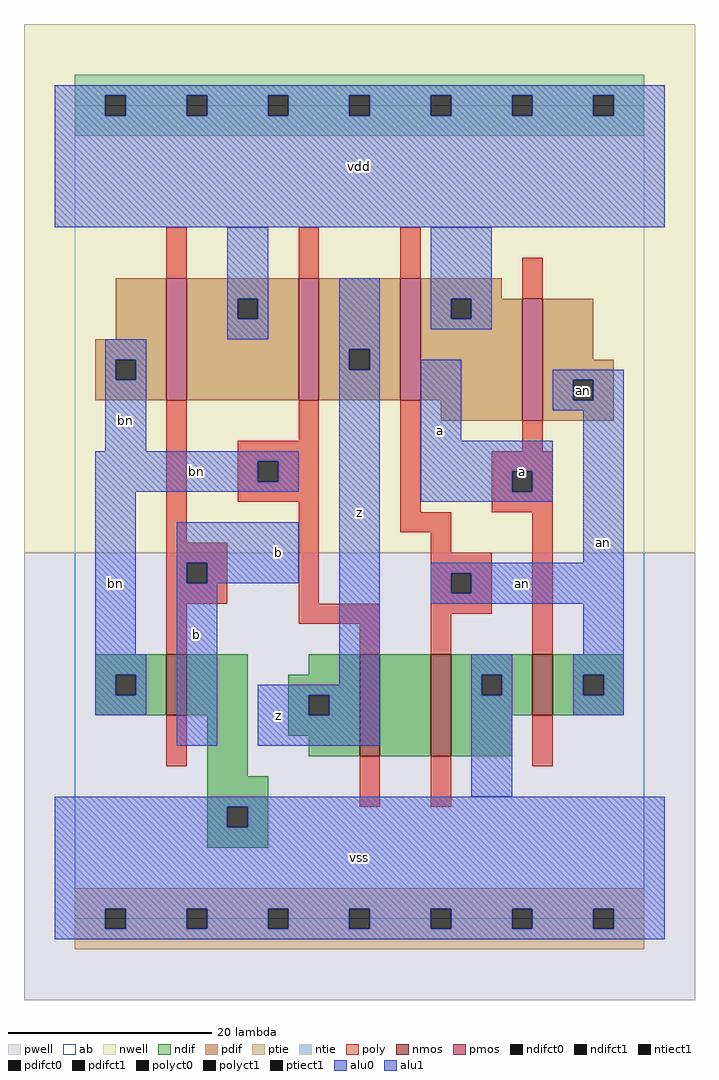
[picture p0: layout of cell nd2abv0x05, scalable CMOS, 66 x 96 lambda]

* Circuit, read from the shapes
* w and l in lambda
.subckt nd2abv0x05 a an b bn vdd vss z
M1 vss b bn vss nfet w=6 l=2
M2 n1 bn z vss nfet w=10 l=2
M3 vss an n1 vss nfet w=10 l=2
M4 an a vss vss nfet w=6 l=2
M5 vdd b bn vdd pfet w=12 l=2
M6 z bn vdd vdd pfet w=12 l=2
M7 vdd an z vdd pfet w=12 l=2
M8 an a vdd vdd pfet w=12 l=2
.ends

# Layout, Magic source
magic
tech scmos
<< ab >>
rect 0 0 56 80
<< nwell >>
rect -5 36 61 88
<< pwell >>
rect -5 -8 61 36
<< poly >>
rect 9 63 11 68
rect 22 63 24 68
rect 32 63 34 68
rect 44 61 46 65
rect 9 37 11 51
rect 22 47 24 51
rect 16 45 24 47
rect 16 43 18 45
rect 20 43 24 45
rect 16 41 24 43
rect 9 35 15 37
rect 9 33 11 35
rect 13 33 15 35
rect 9 31 15 33
rect 22 31 24 41
rect 32 40 34 51
rect 44 46 46 49
rect 41 44 47 46
rect 41 42 43 44
rect 45 42 47 44
rect 41 40 47 42
rect 32 38 37 40
rect 35 36 37 38
rect 35 34 41 36
rect 35 32 37 34
rect 39 32 41 34
rect 9 26 11 31
rect 22 29 30 31
rect 28 26 30 29
rect 35 30 41 32
rect 35 26 37 30
rect 45 26 47 40
rect 9 15 11 20
rect 28 11 30 16
rect 35 11 37 16
rect 45 15 47 20
<< ndif >>
rect 2 24 9 26
rect 2 22 4 24
rect 6 22 9 24
rect 2 20 9 22
rect 11 20 17 26
rect 23 24 28 26
rect 13 14 17 20
rect 21 22 28 24
rect 21 20 23 22
rect 25 20 28 22
rect 21 18 28 20
rect 23 16 28 18
rect 30 16 35 26
rect 37 24 45 26
rect 37 22 40 24
rect 42 22 45 24
rect 37 20 45 22
rect 47 24 54 26
rect 47 22 50 24
rect 52 22 54 24
rect 47 20 54 22
rect 37 16 43 20
rect 13 11 19 14
rect 13 9 15 11
rect 17 9 19 11
rect 13 7 19 9
<< pdif >>
rect 4 57 9 63
rect 2 55 9 57
rect 2 53 4 55
rect 6 53 9 55
rect 2 51 9 53
rect 11 61 22 63
rect 11 59 16 61
rect 18 59 22 61
rect 11 51 22 59
rect 24 56 32 63
rect 24 54 27 56
rect 29 54 32 56
rect 24 51 32 54
rect 34 61 42 63
rect 34 59 37 61
rect 39 59 44 61
rect 34 51 44 59
rect 36 49 44 51
rect 46 55 51 61
rect 46 53 53 55
rect 46 51 49 53
rect 51 51 53 53
rect 46 49 53 51
<< alu1 >>
rect -2 81 58 82
rect -2 79 3 81
rect 5 79 11 81
rect 13 79 19 81
rect 21 79 27 81
rect 29 79 35 81
rect 37 79 43 81
rect 45 79 51 81
rect 53 79 58 81
rect -2 68 58 79
rect 26 56 30 63
rect 26 54 27 56
rect 29 54 30 56
rect 10 35 22 39
rect 10 33 11 35
rect 13 33 22 35
rect 10 17 14 33
rect 26 23 30 54
rect 34 47 38 55
rect 34 44 47 47
rect 34 42 43 44
rect 45 42 47 44
rect 34 41 47 42
rect 18 22 30 23
rect 18 20 23 22
rect 25 20 30 22
rect 18 17 30 20
rect -2 11 58 12
rect -2 9 15 11
rect 17 9 58 11
rect -2 1 58 9
rect -2 -1 3 1
rect 5 -1 11 1
rect 13 -1 19 1
rect 21 -1 27 1
rect 29 -1 35 1
rect 37 -1 43 1
rect 45 -1 51 1
rect 53 -1 58 1
rect -2 -2 58 -1
<< ptie >>
rect 0 1 56 3
rect 0 -1 3 1
rect 5 -1 11 1
rect 13 -1 19 1
rect 21 -1 27 1
rect 29 -1 35 1
rect 37 -1 43 1
rect 45 -1 51 1
rect 53 -1 56 1
rect 0 -3 56 -1
<< ntie >>
rect 0 81 56 83
rect 0 79 3 81
rect 5 79 11 81
rect 13 79 19 81
rect 21 79 27 81
rect 29 79 35 81
rect 37 79 43 81
rect 45 79 51 81
rect 53 79 56 81
rect 0 77 56 79
<< nmos >>
rect 9 20 11 26
rect 28 16 30 26
rect 35 16 37 26
rect 45 20 47 26
<< pmos >>
rect 9 51 11 63
rect 22 51 24 63
rect 32 51 34 63
rect 44 49 46 61
<< polyct0 >>
rect 18 43 20 45
rect 37 32 39 34
<< polyct1 >>
rect 11 33 13 35
rect 43 42 45 44
<< ndifct0 >>
rect 4 22 6 24
rect 40 22 42 24
rect 50 22 52 24
<< ndifct1 >>
rect 23 20 25 22
rect 15 9 17 11
<< ntiect1 >>
rect 3 79 5 81
rect 11 79 13 81
rect 19 79 21 81
rect 27 79 29 81
rect 35 79 37 81
rect 43 79 45 81
rect 51 79 53 81
<< ptiect1 >>
rect 3 -1 5 1
rect 11 -1 13 1
rect 19 -1 21 1
rect 27 -1 29 1
rect 35 -1 37 1
rect 43 -1 45 1
rect 51 -1 53 1
<< pdifct0 >>
rect 4 53 6 55
rect 16 59 18 61
rect 37 59 39 61
rect 49 51 51 53
<< pdifct1 >>
rect 27 54 29 56
<< alu0 >>
rect 15 61 19 68
rect 15 59 16 61
rect 18 59 19 61
rect 15 57 19 59
rect 3 55 7 57
rect 3 53 4 55
rect 6 53 7 55
rect 3 46 7 53
rect 35 61 41 68
rect 35 59 37 61
rect 39 59 41 61
rect 35 58 41 59
rect 2 45 22 46
rect 2 43 18 45
rect 20 43 22 45
rect 2 42 22 43
rect 2 26 6 42
rect 2 24 7 26
rect 2 22 4 24
rect 6 22 7 24
rect 2 20 7 22
rect 47 53 54 54
rect 47 51 49 53
rect 51 51 54 53
rect 47 50 54 51
rect 50 35 54 50
rect 35 34 54 35
rect 35 32 37 34
rect 39 32 54 34
rect 35 31 54 32
rect 50 26 54 31
rect 39 24 43 26
rect 39 22 40 24
rect 42 22 43 24
rect 39 12 43 22
rect 49 24 54 26
rect 49 22 50 24
rect 52 22 54 24
rect 49 20 54 22
<< labels >>
rlabel alu0 5 49 5 49 6 bn
rlabel alu0 4 33 4 33 6 bn
rlabel alu0 12 44 12 44 6 bn
rlabel alu0 44 33 44 33 6 an
rlabel alu0 52 37 52 37 6 an
rlabel pdifct0 50 52 50 52 6 an
rlabel alu1 20 20 20 20 6 z
rlabel alu1 12 28 12 28 6 b
rlabel alu1 20 36 20 36 6 b
rlabel alu1 28 6 28 6 6 vss
rlabel alu1 28 40 28 40 6 z
rlabel alu1 36 48 36 48 6 a
rlabel alu1 28 74 28 74 6 vdd
rlabel alu1 44 44 44 44 6 a
<< end >>
